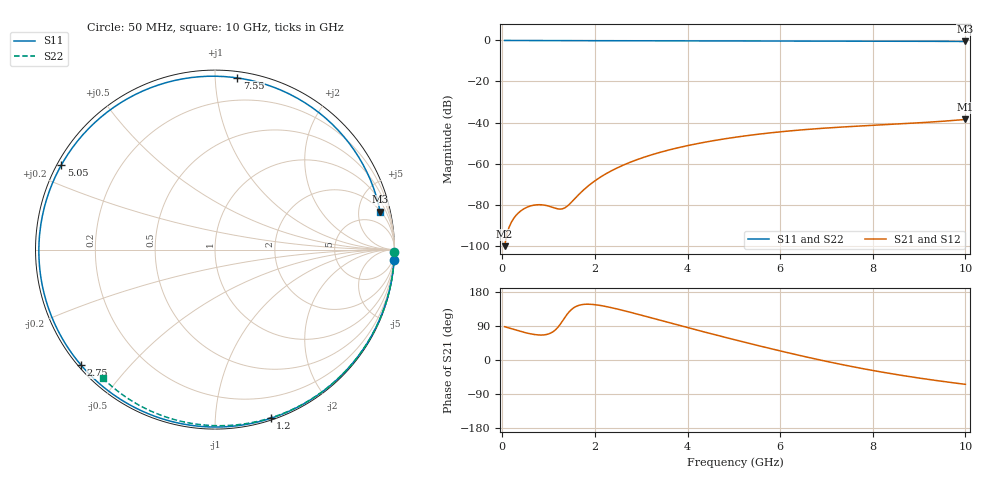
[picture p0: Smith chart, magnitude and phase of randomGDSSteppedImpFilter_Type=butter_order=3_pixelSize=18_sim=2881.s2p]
! freq	dB(S11)	phase(S11)	dB(S12)	phase(S12)
!  dB(S21)	phase(S21)	dB(S22)	phase(S22)
!S-par simulation data
#  GHz  S  DB  R 50
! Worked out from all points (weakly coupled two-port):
!   200 points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, 50 MHz to 10 GHz, reference 50 ohm
!   highest |S21| = -38.51 dB at 10 GHz (marker M1); lowest = -100.3 dB at 50 MHz (marker M2)
!   lowest |S11| = -0.5 dB at 10 GHz (marker M3), VSWR 34.65, Z = 108 + j415 ohm
!   |S11| at or under -10 dB: nowhere
!   |S22| runs from -0.4 to 0.0 dB; largest |S21 - S12| = 0
!   S11 on the Smith chart (normalised r, x): 50 MHz: 0, -35; 1.2 GHz: 0.01, -1.38; 2.75 GHz: 0.01, -0.37; 5.05 GHz: 0.01, +0.26; 7.55 GHz: 0.04, +1.14; 10 GHz: 2.15, +8.31
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0.05  -0.00 -3.2  -100.29 87.9  -100.29 87.9  -0.00 -0.8
0.35  -0.03 -22.2  -84.04 77.0  -84.04 77.0  -0.01 -5.3
0.65  -0.05 -40.6  -80.44 68.1  -80.44 68.1  -0.01 -9.8
0.95  -0.07 -58.0  -80.46 67.2  -80.46 67.2  -0.02 -14.3
1.2  -0.08 -71.7  -82.10 86.2  -82.10 86.2  -0.02 -18.0
1.45  -0.10 -84.6  -79.83 128.0  -79.83 128.0  -0.03 -21.7
1.75  -0.10 -98.9  -72.99 146.7  -72.99 146.7  -0.03 -26.2
1.95  -0.11 -107.8  -69.25 146.6  -69.25 146.6  -0.04 -29.1
2.2  -0.12 -118.3  -65.50 142.1  -65.50 142.1  -0.04 -32.7
2.75  -0.13 -139.2  -59.48 126.4  -59.48 126.4  -0.05 -40.6
3.4  -0.14 -161.0  -54.58 105.2  -54.58 105.2  -0.07 -49.8
3.8  -0.16 -173.3  -52.28 92.1  -52.28 92.1  -0.08 -55.3
4.2  -0.17 174.9  -50.35 79.2  -50.35 79.2  -0.09 -60.8
4.6  -0.18 163.6  -48.70 66.4  -48.70 66.4  -0.10 -66.1
5.05  -0.20 151.1  -47.12 52.4  -47.12 52.4  -0.11 -72.1
5.9  -0.23 128.1  -44.77 26.9  -44.77 26.9  -0.14 -83.0
6.7  -0.27 106.2  -43.17 4.4  -43.17 4.4  -0.18 -92.9
7.15  -0.29 93.8  -42.47 -7.5  -42.47 -7.5  -0.20 -98.3
7.55  -0.31 82.6  -41.93 -17.3  -41.93 -17.3  -0.23 -103.1
8.35  -0.36 59.9  -40.95 -35.1  -40.95 -35.1  -0.29 -112.4
9.2  -0.42 35.5  -39.86 -51.2  -39.86 -51.2  -0.36 -122.1
10  -0.50 12.9  -38.51 -64.3  -38.51 -64.3  -0.44 -131.2
